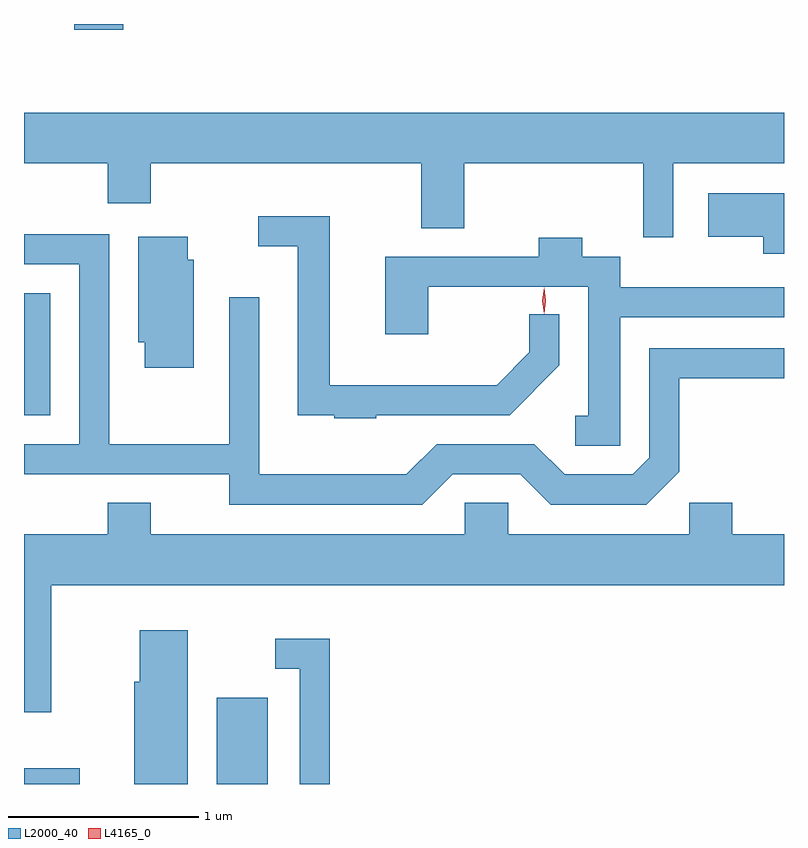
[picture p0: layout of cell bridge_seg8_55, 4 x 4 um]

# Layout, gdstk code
import gdstk
lib = gdstk.Library(unit=1e-6, precision=1e-09)
def R(c, l, rs):  # rectangles x0, y0, x1, y1
    for r in rs: c.add(gdstk.rectangle(r[:2], r[2:], *l))
def P(c, l, *ps):  # polygons
    for p in ps: c.add(gdstk.Polygon(p, *l))
L2000_40 = (2000, 40)
L4165_0 = (4165, 0)

bridge_seg8_55 = lib.new_cell('bridge_seg8_55')
R(bridge_seg8_55, L2000_40, [(1535.901,1930.83,1536.194,1930.914), (1536.916,1930.83,1537.184,1931.284), (1535.901,1932.771,1536.039,1933.414), (1536.166,1934.801,1536.424,1934.83)])
P(bridge_seg8_55, L2000_40, [(1539.319,1934.096),(1539.901,1934.096),(1539.901,1934.364),(1535.901,1934.364),(1535.901,1934.096),(1536.341,1934.096),(1536.341,1933.886),(1536.569,1933.886),(1536.569,1934.096),(1537.991,1934.096),(1537.991,1933.756),(1538.219,1933.756),(1538.219,1934.096),(1539.161,1934.096),(1539.161,1933.708),(1539.319,1933.708)],
  [(1539.901,1933.939),(1539.501,1933.939),(1539.501,1933.711),(1539.791,1933.711),(1539.791,1933.621),(1539.901,1933.621)],
  [(1537.755,1932.771),(1538.457,1932.771),(1538.719,1933.034),(1538.719,1933.303),(1538.561,1933.303),(1538.561,1933.102),(1538.389,1932.929),(1537.509,1932.929),(1537.509,1933.819),(1537.133,1933.819),(1537.133,1933.661),(1537.341,1933.661),(1537.341,1932.771),(1537.535,1932.771),(1537.535,1932.756),(1537.755,1932.756)],
  [(1538.157,1932.461),(1538.514,1932.461),(1538.674,1932.301),(1539.177,1932.301),(1539.349,1932.474),(1539.349,1932.966),(1539.901,1932.966),(1539.901,1933.124),(1539.191,1933.124),(1539.191,1932.547),(1539.104,1932.459),(1538.747,1932.459),(1538.587,1932.619),(1538.074,1932.619),(1537.914,1932.459),(1537.139,1932.459),(1537.139,1933.393),(1536.981,1933.393),(1536.981,1932.619),(1536.349,1932.619),(1536.349,1933.724),(1535.901,1933.724),(1535.901,1933.566),(1536.191,1933.566),(1536.191,1932.619),(1535.901,1932.619),(1535.901,1932.461),(1536.981,1932.461),(1536.981,1932.301),(1537.997,1932.301)],
  [(1536.794,1933.589),(1536.764,1933.589),(1536.764,1933.709),(1536.501,1933.709),(1536.501,1933.156),(1536.536,1933.156),(1536.536,1933.021),(1536.794,1933.021)],
  [(1539.039,1933.286),(1539.901,1933.286),(1539.901,1933.444),(1539.039,1933.444),(1539.039,1933.604),(1538.839,1933.604),(1538.839,1933.704),(1538.611,1933.704),(1538.611,1933.604),(1537.801,1933.604),(1537.801,1933.196),(1538.029,1933.196),(1538.029,1933.446),(1538.871,1933.446),(1538.871,1932.769),(1538.803,1932.769),(1538.803,1932.611),(1539.039,1932.611)],
  [(1539.401,1932.309),(1539.401,1932.144),(1538.449,1932.144),(1538.449,1932.309),(1538.221,1932.309),(1538.221,1932.144),(1536.569,1932.144),(1536.569,1932.309),(1536.341,1932.309),(1536.341,1932.144),(1535.901,1932.144),(1535.901,1931.208),(1536.044,1931.208),(1536.044,1931.876),(1539.901,1931.876),(1539.901,1932.144),(1539.629,1932.144),(1539.629,1932.309)],
  [(1536.764,1931.639),(1536.511,1931.639),(1536.511,1931.369),(1536.481,1931.369),(1536.481,1930.83),(1536.764,1930.83)],
  [(1537.509,1931.594),(1537.223,1931.594),(1537.223,1931.436),(1537.351,1931.436),(1537.351,1930.83),(1537.509,1930.83)])
P(bridge_seg8_55, L4165_0, [(1538.638,1933.303),(1538.638,1933.304),(1538.628,1933.373),(1538.638,1933.442),(1538.638,1933.443),(1538.639,1933.442),(1538.648,1933.373),(1538.639,1933.304)])

lib.write_gds('bridge_seg8_55.gds')
